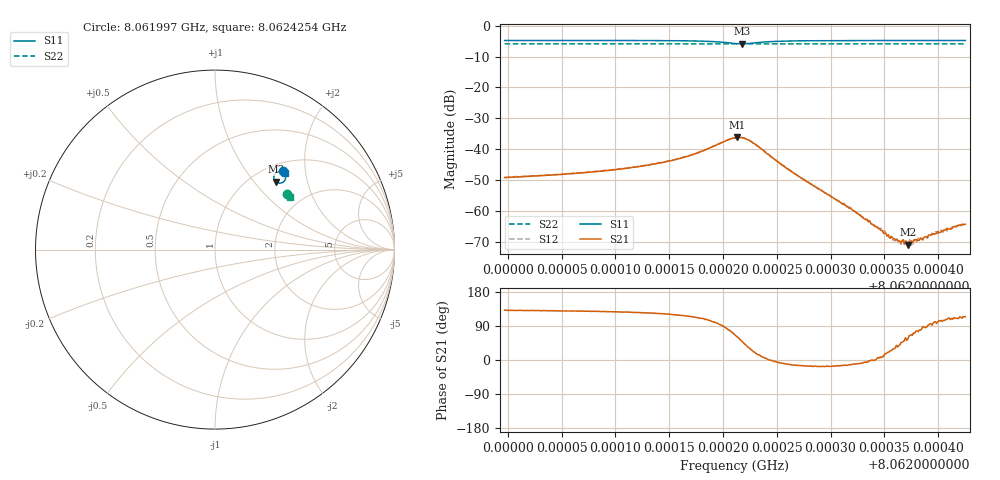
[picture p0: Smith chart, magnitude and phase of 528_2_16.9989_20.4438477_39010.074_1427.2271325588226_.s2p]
#  HZ  S  RI  R  50.00
! Rohde & Schwarz Vector Network Analyzer
! Rohde-Schwarz,ZNB20-2Port,1311601062101988,3.16
! Created: UTC 3/20/2024, 11:15:47 PM
! freq[Hz]  re:S11  im:S11  re:S21  im:S21  re:S12  im:S12  re:S22  im:S22
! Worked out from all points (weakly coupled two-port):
!   401 points, 8.061997 GHz to 8.0624254 GHz, reference 50 ohm
!   highest |S21| = -36.18 dB at 8.0622133 GHz (marker M1); lowest = -70.9 dB at 8.0623719 GHz (marker M2)
!   lowest |S11| = -5.9 dB at 8.0622176 GHz (marker M3), VSWR 3.07, Z = 63.9 + j65.2 ohm
!   |S11| at or under -10 dB: nowhere
!   |S22| runs from -5.9 to -5.9 dB; largest |S21 - S12| = 0.00097
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8.06199697e9  0.3766 0.4358  -0.0023 0.00261  -0.00217 0.00277  0.4027 0.3115
8.06206873e9  0.3827 0.4301  -0.00261 0.00322  -0.00243 0.0034  0.4054 0.3079
8.06210943e9  0.3866 0.4252  -0.00289 0.00393  -0.00269 0.00415  0.4067 0.3056
8.06214049e9  0.3904 0.419  -0.0032 0.00502  -0.00292 0.00526  0.408 0.3038
8.0621737e9  0.394 0.4053  -0.0033 0.00772  -0.0029 0.00798  0.409 0.3016
8.06221119e9  0.3572 0.3703  0.00619 0.0139  0.00699 0.0137  0.4082 0.2987
8.06221333e9  0.3508 0.3717  0.0076 0.0135  0.00834 0.0132  0.4081 0.2988
8.06221761e9  0.3388 0.3786  0.01 0.0117  0.0108 0.0111  0.4077 0.299
8.06222832e9  0.3284 0.4077  0.0116 0.00471  0.012 0.00416  0.4079 0.3001
8.06225617e9  0.3551 0.4355  0.0053 -0.000859  0.0053 -0.00123  0.4105 0.2996
8.06228295e9  0.3691 0.4353  0.00254 -0.000772  0.00252 -0.000956  0.412 0.298
8.06231722e9  0.3776 0.4321  0.00109 -0.000236  0.0011 -0.000328  0.4135 0.2961
8.06234936e9  0.3826 0.4295  0.000428 7.02e-05  0.000456 7.05e-05  0.4147 0.2943
8.06235471e9  0.3832 0.429  0.000345 0.000138  0.000354 0.000121  0.4149 0.294
8.0623665e9  0.3846 0.4281  0.000225 0.000239  0.000231 0.000229  0.4153 0.2936
8.06237185e9  0.3851 0.4277  0.000165 0.000234  0.000172 0.000258  0.4155 0.2932
8.06237721e9  0.3856 0.4274  0.000105 0.00032  0.000136 0.000283  0.416 0.2929
8.06238042e9  0.386 0.4272  7.87e-05 0.000321  9.72e-05 0.00032  0.4157 0.2927
8.06238792e9  0.3867 0.4266  2.9e-05 0.000381  1.28e-05 0.000361  0.4161 0.2924
8.06239649e9  0.3874 0.4259  -7.53e-05 0.000416  -7.57e-05 0.00042  0.4164 0.292
8.06241577e9  0.3892 0.4248  -0.000192 0.000524  -0.000184 0.000524  0.4172 0.2909
8.06242541e9  0.39 0.4241  -0.000252 0.000556  -0.000241 0.000556  0.4174 0.2904
